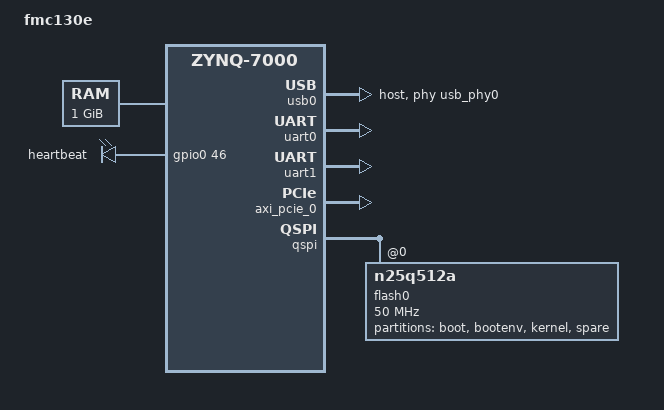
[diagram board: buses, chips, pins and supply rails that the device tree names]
/dts-v1/;

#include "zynq-7000.dtsi"

/ {
        model = "fmc130e";
        compatble = "insys,fmc130e", "xlnx,zynq-7000";

        aliases {
            serial0 = &uart0;
            serial1 = &uart1;
/*            serial2 = &mdm_0; */
            ethernet0 = &gem0;
            spi0 = &qspi;
        };

        chosen {
            bootargs = "console=ttyPS0,115200 earlycon root=/dev/mmcblk0p2 rootfstype=ext4 nolock rw rootwait ip=192.168.0.101::192.168.0.1:255.255.255.0:fmc130e:eth0:on";
            stdout-path = "serial0:115200n8";
        };

        memory {
                device_type = "memory";
                reg = <0x0 0x40000000>;
        };

        leds {
            compatible = "gpio-leds";

            heartbeat_led {
                status = "okay";
                label = "heartbeat";
                gpios = <&gpio0 46 0>;
                linux,default-trigger = "heartbeat";
            };
        };

        chip_pin {
            label = "chip_pin";
            gpios = <&gpio0 49 0>;
            default-state = "off";
        };

        sd_sel {
            label = "sd_sel";
            gpios = <&gpio0 48 0>;
            default-state = "off";
        };

        usb_phy0: phy0@e0002000 {
                compatible = "ulpi-phy";
                #phy-cells = <0>;
                reg = <0xe0002000 0x1000>;
                view-port = <0x0170>;
                drv-vbus;
        };

        dcc: dcc {
            compatible = "arm,dcc";
            status = "disabled";
            u-boot,dm-pre-reloc;
        };
};

&clkc {
    fclk-enable = <0xf>;
    ps-clk-frequency = <50000000>;
};

&usb0 {
    status = "okay";
    usb-phy = <&usb_phy0>;
    phy_type = "ulpi";
    dr_mode = "host";
};

&uart0 {
    status = "okay";
};

&uart1 {
    status = "okay";
};

&mdm_0 {
    status = "disabled";
};

&axi_pcie_0 {
    status = "okay";
};

&qspi {

    flash0: flash@0 {
        compatible = "n25q512a", "micron,m25p80";
        #address-cells = <1>;
        #size-cells = <1>;
        spi-max-frequency = <50000000>;
        partition@0 {
            label = "boot";
            reg = <0x00000000 0x00200000>;
        };
        partition@1 {
            label = "bootenv";
            reg = <0x00200000 0x00020000>;
        };
        partition@2 {
            label = "kernel";
            reg = <0x00220000 0x00d80000>;
        };
        partition@3 {
            label = "spare";
            reg = <0x00fa0000 0x00000000>;
        };
    };
};
